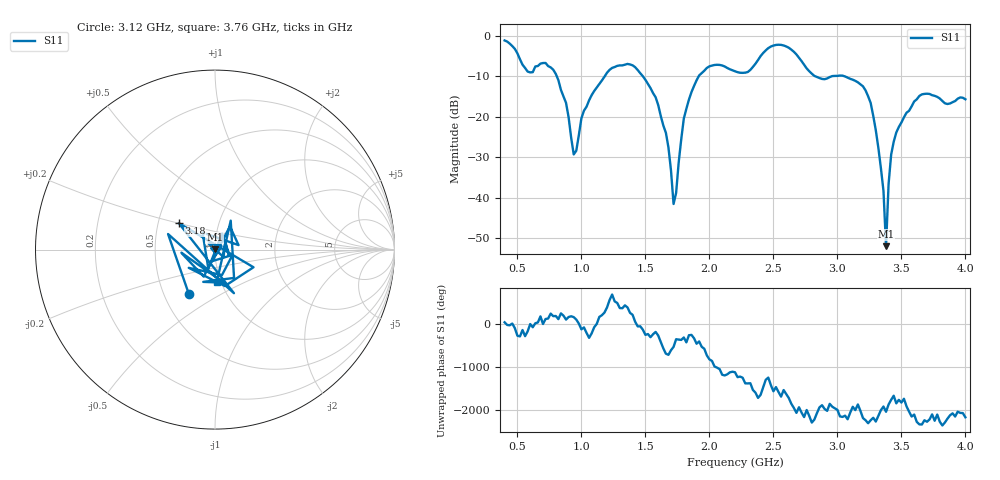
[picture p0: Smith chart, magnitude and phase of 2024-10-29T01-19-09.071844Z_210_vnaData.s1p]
!Created with skrf (http://scikit-rf.org).
# Hz S RI R 50.0
!freq ReS11 ImS11
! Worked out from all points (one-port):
!   181 points, 400 MHz to 4 GHz, reference 50 ohm
!   lowest |S11| = -52.0 dB at 3.38 GHz (marker M1), VSWR 1.01, Z = 49.9 + j0.211 ohm
!   |S11| at or under -10 dB: 806.8 MHz to 1.183 GHz (376.6 MHz wide, 37.8 % of centre); 1.479 GHz to 1.917 GHz (438.5 MHz wide, 25.8 % of centre); 3.05 GHz to end of sweep (the widest 3 of 4)
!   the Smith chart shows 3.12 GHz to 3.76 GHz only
!   S11 on the Smith chart (normalised r, x): 3.12 GHz: 0.67, -0.36; 3.18 GHz: 0.64, +0.20; 3.76 GHz: 0.96, -0.36
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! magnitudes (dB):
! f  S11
! 400 MHz  -1.2
! 580 MHz  -8.9
! 780 MHz  -8.4
! 860 MHz  -15.0
! 940 MHz  -29.4
! 1.08 GHz  -14.7
! 1.3 GHz  -7.4
! 1.58 GHz  -15.2
! 1.68 GHz  -27.6
! 1.72 GHz  -41.6
! 1.76 GHz  -31.3
! 1.8 GHz  -20.5
! 1.92 GHz  -9.8
! 2.2 GHz  -8.8
! 2.5 GHz  -2.5
! 2.66 GHz  -4.0
! 2.82 GHz  -10.0
! 3.1 GHz  -10.7
! 3.12 GHz  -10.9
! 3.18 GHz  -12.0
! 3.3 GHz  -23.4
! 3.36 GHz  -38.3
! 3.38 GHz  -52.0
! 3.4 GHz  -36.6
! 3.42 GHz  -29.4
! 3.56 GHz  -18.6
! 3.76 GHz  -14.9
! 4 GHz  -15.7
